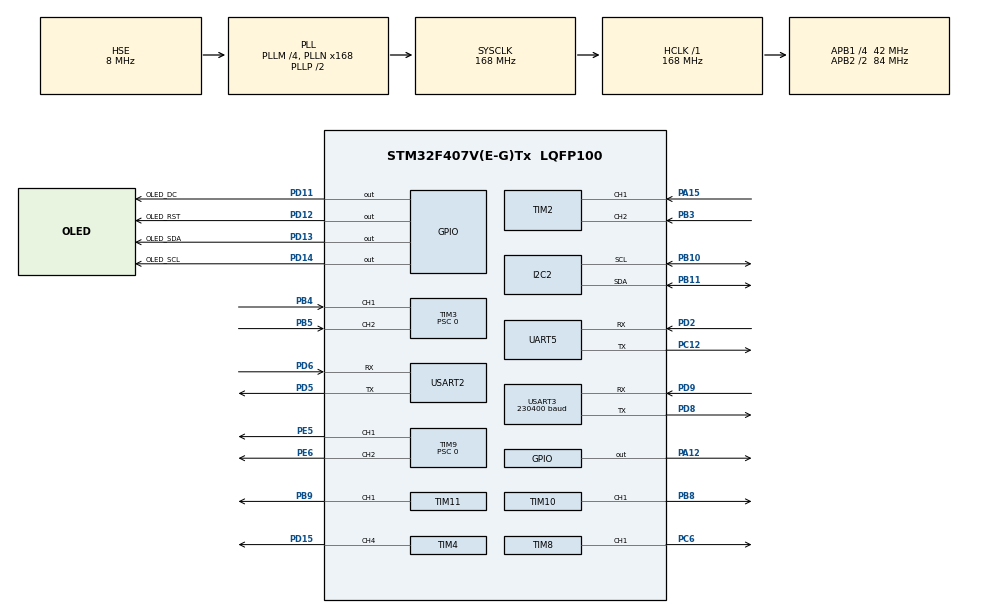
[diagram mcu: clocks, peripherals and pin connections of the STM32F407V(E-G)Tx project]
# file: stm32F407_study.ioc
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Dma.Request0=USART2_RX
Dma.Request1=USART2_TX
Dma.USART2_RX.0.Direction=DMA_PERIPH_TO_MEMORY
Dma.USART2_RX.0.FIFOMode=DMA_FIFOMODE_DISABLE
Dma.USART2_RX.0.Instance=DMA1_Stream5
Dma.USART2_RX.0.MemDataAlignment=DMA_MDATAALIGN_BYTE
Dma.USART2_RX.0.MemInc=DMA_MINC_ENABLE
Dma.USART2_RX.0.Mode=DMA_NORMAL
Dma.USART2_RX.0.PeriphDataAlignment=DMA_PDATAALIGN_BYTE
Dma.USART2_RX.0.PeriphInc=DMA_PINC_DISABLE
Dma.USART2_RX.0.Priority=DMA_PRIORITY_LOW
Dma.USART2_TX.1.Direction=DMA_MEMORY_TO_PERIPH
Dma.USART2_TX.1.FIFOMode=DMA_FIFOMODE_DISABLE
Dma.USART2_TX.1.Instance=DMA1_Stream6
Dma.USART2_TX.1.MemDataAlignment=DMA_MDATAALIGN_BYTE
Dma.USART2_TX.1.MemInc=DMA_MINC_ENABLE
Dma.USART2_TX.1.Mode=DMA_NORMAL
Dma.USART2_TX.1.PeriphDataAlignment=DMA_PDATAALIGN_BYTE
Dma.USART2_TX.1.PeriphInc=DMA_PINC_DISABLE
Dma.USART2_TX.1.Priority=DMA_PRIORITY_LOW
Mcu.Family=STM32F4
Mcu.Name=STM32F407V(E-G)Tx
Mcu.Package=LQFP100
NVIC.DMA1_Stream5_IRQn=true\:0\:0\:false\:false\:true\:false\:true\:true
NVIC.DMA1_Stream6_IRQn=true\:0\:0\:false\:false\:true\:false\:true\:true
NVIC.PriorityGroup=NVIC_PRIORITYGROUP_4
NVIC.TIM1_UP_TIM10_IRQn=true\:15\:0\:false\:false\:true\:false\:true\:true
NVIC.TIM3_IRQn=true\:0\:0\:true\:false\:true\:true\:true\:true
NVIC.TIM7_IRQn=true\:2\:0\:true\:false\:true\:true\:true\:true
NVIC.TIM8_TRG_COM_TIM14_IRQn=true\:0\:0\:false\:false\:true\:true\:true\:true
NVIC.TimeBase=TIM1_UP_TIM10_IRQn
NVIC.TimeBaseIP=TIM1
NVIC.UART5_IRQn=true\:0\:0\:false\:false\:true\:true\:true\:true
NVIC.USART2_IRQn=true\:0\:0\:false\:false\:true\:true\:true\:true
NVIC.USART3_IRQn=true\:0\:0\:false\:false\:true\:true\:true\:true
PA12.GPIO_Speed=GPIO_SPEED_FREQ_HIGH
PA12.PinState=GPIO_PIN_SET
PA12.Signal=GPIO_Output
PA13.Mode=Serial_Wire
PA13.Signal=SYS_JTMS-SWDIO
PA14.Mode=Serial_Wire
PA14.Signal=SYS_JTCK-SWCLK
PA15.GPIO_PuPd=GPIO_PULLUP
PA15.GPIO_Speed=GPIO_SPEED_FREQ_VERY_HIGH
PA15.Signal=S_TIM2_CH1_ETR
PB10.Mode=I2C
PB10.Signal=I2C2_SCL
PB11.Mode=I2C
PB11.Signal=I2C2_SDA
PB3.GPIO_PuPd=GPIO_PULLUP
PB3.GPIO_Speed=GPIO_SPEED_FREQ_VERY_HIGH
PB3.Signal=S_TIM2_CH2
PB4.GPIO_PuPd=GPIO_PULLUP
PB4.GPIO_Speed=GPIO_SPEED_FREQ_VERY_HIGH
PB4.Signal=S_TIM3_CH1
PB5.GPIO_PuPd=GPIO_PULLUP
PB5.GPIO_Speed=GPIO_SPEED_FREQ_VERY_HIGH
PB5.Signal=S_TIM3_CH2
PB8.Signal=S_TIM10_CH1
PB9.Signal=S_TIM11_CH1
PC12.Mode=Asynchronous
PC12.Signal=UART5_TX
PC6.Signal=S_TIM8_CH1
PD11.GPIO_Label=OLED_DC
PD11.Signal=GPIO_Output
PD12.GPIO_Label=OLED_RST
PD12.Signal=GPIO_Output
PD13.GPIO_Label=OLED_SDA
PD13.GPIO_ModeDefaultOutputPP=GPIO_MODE_OUTPUT_PP
PD13.GPIO_PuPd=GPIO_PULLUP
PD13.GPIO_Speed=GPIO_SPEED_FREQ_VERY_HIGH
PD13.PinState=GPIO_PIN_RESET
PD13.Signal=GPIO_Output
PD14.GPIO_Label=OLED_SCL
PD14.GPIO_PuPd=GPIO_PULLUP
PD14.GPIO_Speed=GPIO_SPEED_FREQ_VERY_HIGH
PD14.PinState=GPIO_PIN_RESET
PD14.Signal=GPIO_Output
PD15.Signal=S_TIM4_CH4
PD2.Mode=Asynchronous
PD2.Signal=UART5_RX
PD5.Mode=Asynchronous
PD5.Signal=USART2_TX
PD6.Mode=Asynchronous
PD6.Signal=USART2_RX
PD8.Mode=Asynchronous
PD8.Signal=USART3_TX
PD9.Mode=Asynchronous
PD9.Signal=USART3_RX
PE5.Signal=S_TIM9_CH1
PE6.Signal=S_TIM9_CH2
PH0-OSC_IN.Mode=HSE-External-Oscillator
PH0-OSC_IN.Signal=RCC_OSC_IN
PH1-OSC_OUT.Mode=HSE-External-Oscillator
PH1-OSC_OUT.Signal=RCC_OSC_OUT
ProjectManager.HeapSize=0x200
ProjectManager.StackSize=0x400
ProjectManager.TargetToolchain=MDK-ARM V5
RCC.48MHZClocksFreq_Value=84000000
RCC.AHBFreq_Value=168000000
RCC.APB1CLKDivider=RCC_HCLK_DIV4
RCC.APB1Freq_Value=42000000
RCC.APB1TimFreq_Value=84000000
RCC.APB2CLKDivider=RCC_HCLK_DIV2
RCC.APB2Freq_Value=84000000
RCC.APB2TimFreq_Value=168000000
RCC.CortexFreq_Value=168000000
RCC.HCLKFreq_Value=168000000
RCC.HSE_VALUE=8000000
RCC.HSI_VALUE=16000000
RCC.LSE_VALUE=32768
RCC.PLLM=4
RCC.PLLN=168
RCC.PLLSourceVirtual=RCC_PLLSOURCE_HSE
RCC.SYSCLKFreq_VALUE=168000000
RCC.SYSCLKSource=RCC_SYSCLKSOURCE_PLLCLK
RCC.VCOOutputFreq_Value=336000000
SH.S_TIM10_CH1.0=TIM10_CH1,PWM Generation1 CH1
SH.S_TIM11_CH1.0=TIM11_CH1,PWM Generation1 CH1
SH.S_TIM2_CH1_ETR.0=TIM2_CH1,Encoder_Interface
SH.S_TIM2_CH2.0=TIM2_CH2,Encoder_Interface
SH.S_TIM3_CH1.0=TIM3_CH1,Encoder_Interface
SH.S_TIM3_CH2.0=TIM3_CH2,Encoder_Interface
SH.S_TIM4_CH4.0=TIM4_CH4,PWM Generation4 CH4
SH.S_TIM8_CH1.0=TIM8_CH1,PWM Generation1 CH1
SH.S_TIM9_CH1.0=TIM9_CH1,PWM Generation1 CH1
SH.S_TIM9_CH2.0=TIM9_CH2,PWM Generation2 CH2
TIM10.Channel=TIM_CHANNEL_1
TIM10.Period=16800-1
TIM11.Channel=TIM_CHANNEL_1
TIM11.Period=16800-1
TIM2.EncoderMode=TIM_ENCODERMODE_TI12
TIM2.IC1Filter=6
TIM2.IC2Filter=6
TIM3.EncoderMode=TIM_ENCODERMODE_TI12
TIM3.IC1Filter=0
TIM3.IC2Filter=0
TIM3.Prescaler=0
TIM4.Channel-PWM\ Generation4\ CH4=TIM_CHANNEL_4
TIM4.Period=10000-1
TIM4.Prescaler=168-1
TIM6.Period=10000-1
TIM6.Prescaler=840-1
TIM7.AutoReloadPreload=TIM_AUTORELOAD_PRELOAD_ENABLE
TIM7.Period=10000-1
TIM7.Prescaler=84-1
TIM8.Channel-PWM\ Generation1\ CH1=TIM_CHANNEL_1
TIM8.Period=10000-1
TIM8.Prescaler=168-1
TIM9.Channel-PWM\ Generation1\ CH1=TIM_CHANNEL_1
TIM9.Channel-PWM\ Generation2\ CH2=TIM_CHANNEL_2
TIM9.Period=16800-1
TIM9.Prescaler=0
UART5.VirtualMode=Asynchronous
USART2.VirtualMode=VM_ASYNC
USART3.BaudRate=230400
USART3.VirtualMode=VM_ASYNC
VP_SYS_VS_tim1.Mode=TIM1
VP_TIM10_VS_ClockSourceINT.Mode=Enable_Timer
VP_TIM11_VS_ClockSourceINT.Mode=Enable_Timer
VP_TIM12_VS_ClockSourceINT.Mode=Internal
VP_TIM4_VS_ClockSourceINT.Mode=Internal
VP_TIM6_VS_ClockSourceINT.Mode=Enable_Timer
VP_TIM7_VS_ClockSourceINT.Mode=Enable_Timer
VP_TIM8_VS_ClockSourceINT.Mode=Internal
board=custom

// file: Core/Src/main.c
/* USER CODE BEGIN Header */
/**
 ******************************************************************************
 * @file           : main.c
 * @brief          : Main program body
 ******************************************************************************
 * @attention
 *
 * Copyright (c) 2024 STMicroelectronics.
 * All rights reserved.
 *
 * This software is licensed under terms that can be found in the LICENSE file
 * in the root directory of this software component.
 * If no LICENSE file comes with this software, it is provided AS-IS.
 *
 ******************************************************************************
 */
/* USER CODE END Header */
#include "main.h"
#include "dma.h"
#include "i2c.h"
#include "tim.h"
#include "usart.h"
#include "gpio.h"

/* USER CODE BEGIN Includes */
#include "math.h"
#include "contor.h"
#include "MPU6050.h"
#include "oled.h"
#include "FreeRTOS.h"
#include "task.h"
#include "uart5.h"
/* USER CODE END Includes */

/* USER CODE BEGIN PTD */
extern UART_HandleTypeDef huart2; // 确保huart2在其他地方已正确初始化

/* USER CODE END PTD */

/* USER CODE BEGIN PD */

volatile uint8_t uart5_data_buffer[DATA_SIZE];
volatile uint8_t uart5_data_index = 0;
volatile uint8_t data_ready_flag = 0;

int findMaxIndex(int dir[], int size)
{
  int maxIndex = 0;
  int maxValue = dir[0];

  for (int i = 1; i < size; i++)
  {
    if (dir[i] > maxValue)
    {
      maxValue = dir[i];
      maxIndex = i;
    }
  }

  return maxIndex;
}
void vApplicationStackOverflowHook(TaskHandle_t xTask, char *pcTaskName)
{
  // 处理栈溢出的代码
  for (;;)
    ; // 无限循环，防止继续执行
}

void vApplicationIdleHook(void)
{
  // 空闲任务钩子函数的代码
}

void vApplicationTickHook(void)
{
  // 系统时钟节拍钩子函数的代码
}

void vApplicationMallocFailedHook(void)
{
  // 动态内存分配失败钩子函数的代码
  for (;;)
    ; // 无限循环，防止继续执行
}
/* USER CODE END PD */

void SystemClock_Config(void);
/* USER CODE BEGIN PFP */
// LED闪烁任务

// 定义任务句柄
TaskHandle_t Task1Handle = NULL;
TaskHandle_t Task2Handle = NULL;
TaskHandle_t Task3Handle = NULL;
TaskHandle_t StartupTaskHandle = NULL;

/* USER CODE END PFP */

/* USER CODE BEGIN 0 */
int direction_id;
PolarCoord direction;
int dir[5] = {0};
#define var_cir 8
#define var_line 4
int distance;
// 计算两点之间的斜率
float calculateSlope(CartesianPoint p1, CartesianPoint p2)
{
  if (p1.x == 0.0f || p2.x == 0.0f)
  {
    return 0.0f; // 避免除以零
  }
  return (p2.y - p1.y) / (p2.x - p1.x);
}

// 计算斜率的方差
float calculateVariance(float slopes[], int length)
{
  float sumSlopes = 0.0f;
  float meanSlope = 0.0f;
  float variance = 0.0f;

  for (int i = 0; i < length; i++)
  {
    sumSlopes += slopes[i];
  }
  meanSlope = sumSlopes / length;

  for (int i = 0; i < length; i++)
  {
    variance += powf(slopes[i] - meanSlope, 2);
  }
  return variance / length;
}

// 根据方差和角度决定方向
void determineDirection(float variance, float angle, int dir[])
{

  if (variance > var_cir)
  {
    if (angle >= 0 && angle <= 10)
    {
      dir[2]++;
    }
    else if (angle >= 350 && angle <= 360)
    {
      dir[2]++;
    }
    else if (angle > 10 && angle <= 30)
    {
      dir[3]++;
    }
    else if (angle > 30 && angle <= 100)
    {
      dir[4]++;
    }
    else if (angle >= 330 && angle < 350)
    {
      dir[1]++;
    }
    else if (angle >= 170 && angle < 330)
    {
      dir[0]++;
    }
  }

   else if (variance < var_line)
  {
    if (angle >= 0 && angle <= 10)
    {
      dir[2]--;
    }
    else if (angle >= 350 && angle <= 360)
    {
      dir[2]--;
    }
    else if (angle > 10 && angle <= 30)
    {
      dir[3]--;
    }
    else if (angle > 30 && angle <= 100)
    {
      dir[4]--;
    }
    else if (angle >= 330 && angle < 350)
    {
      dir[1]--;
    }
    else if (angle >= 170 && angle < 330)
    {
      dir[0]--;
    }
  }
}

void calcul_k(CartesianPoint cartesianData[], int n, int dir[])
{
  if (n < 4)
  {
    return; // 数组长度小于 4 时无法计算斜率方差
  }

  float slopes[3];           // 存储斜率
  float varianceHistory[10]; // 存储最近 10 次的方差
  int varianceIndex = 0;     // 当前方差在数组中的索引

  for (int i = 0; i < n - 2; i++)
  {
    // 检查坐标是否为 0
    if (cartesianData[i].x == 0.0f || cartesianData[i + 1].x == 0.0f || cartesianData[i].y == 0.0f || cartesianData[i + 1].y == 0.0f ||
        cartesianData[i + 2].x == 0.0f || cartesianData[i + 2].y == 0.0f || cartesianData[i + 3].x == 0.0f || cartesianData[i + 3].y == 0.0f)
    {
      continue; // 存在坐标为 0 的情况，跳过
    }

    // 计算斜率
    for (int k = 0; k <= 2; k++)
    {
      slopes[k] = calculateSlope(cartesianData[i + k], cartesianData[i + k + 1]);
    }

    // 计算方差
    float variance = calculateVariance(slopes, 3);

    // 将当前方差添加到历史记录中
    varianceHistory[varianceIndex % 10] = variance;
    varianceIndex++;

    // 计算平滑方差
    float smoothVariance = 0.0f;
    int count = (varianceIndex < 10) ? varianceIndex : 10;
    for (int j = 0; j < count; j++)
    {
      smoothVariance += varianceHistory[j];
    }
    smoothVariance /= count;

    // 打印调试信息
    print_float(smoothVariance);
    print_float(Dataprocess[i].angle);
    print_int32_t(Dataprocess[i].distance);
    println("");
    // 决定方向
    if (0 < Dataprocess[i].angle || Dataprocess[i].angle > 5)
      distance = Dataprocess[i].distance;
    determineDirection(smoothVariance, Dataprocess[i].angle, dir);
  }
}

// 任务1函数（优先级高）
void Task1(void *pvParameters)
{
  while (1)
  {
    PolarCoord polarCoord;
    Circle cir;

    if (data_ready_flag)
    {
      vTaskSuspend(Task3Handle);
      // 数据处理逻辑
      processData();
      // 转换为直角坐标
      CartesianPoint cartesianData[92];
      polarToCartesian(Dataprocess, cartesianData, 92);
      calcul_k(cartesianData, 92, dir);
      direction_id = findMaxIndex(dir, 5);
      for (int i = 0; i < 5; i++)
      {
        dir[i] = 0;
      }
      // 数据处理完毕，重置标志位
       vTaskResume(Task3Handle);
      vTaskDelay(pdMS_TO_TICKS(1000));
        Drive_Motor(0,0);
      data_ready_flag = 0;
      // 重新开启UART接收中断

      HAL_UART_Receive_IT(&huart5, Uart5_Receive_buf, sizeof(Uart5_Receive_buf));
    }
  }
}

// 任务2函数（优先级低）
void Task2(void *pvParameters)
{
  while (1)
  {
    // print_int(direction_id);
    OLED_ShowNumber(20, 20, direction_id);
    OLED_Refresh_Gram();
    if (distance < 300 && direction_id != 2)
    {
      Drive_Motor(-0.2, 0);
      // vTaskDelay(pdMS_TO_TICKS(1000));
    }
    else if (distance < 150 && direction_id == 2)
    {
      Drive_Motor(0, 0);
      // vTaskDelay(pdMS_TO_TICKS(2000));
    }
    else
    {
      switch (direction_id)
      {
      case 0:
        Drive_Motor(0.3, -60);
        // vTaskDelay(pdMS_TO_TICKS(1000));
      case 1:
        Drive_Motor(0.3, -40);
        // vTaskDelay(pdMS_TO_TICKS(1000));
        break;
      case 2:
        Drive_Motor(0.3, 0);
        // vTaskDelay(pdMS_TO_TICKS(1000));
        break;
      case 3:
        Drive_Motor(0.3, 40);
        // vTaskDelay(pdMS_TO_TICKS(1000));
        break;
      case 4:
        Drive_Motor(0.3, 60);
        // vTaskDelay(pdMS_TO_TICKS(1000));
        break;
      default:

        break;
      }
    }

    vTaskDelay(pdMS_TO_TICKS(10));
  }
  // Drive_Motor(0,0);
}

// 任务3函数（优先级低，与任务2相同）
void Task3(void *pvParameters)
{
  while (1)
  {
    Set_Pwm(Incremental_PI_A(MOTOR_A.Encoder, MOTOR_A.Target), Incremental_PI_B(MOTOR_B.Encoder, MOTOR_B.Target), Servo);
    vTaskDelay(pdMS_TO_TICKS(1));
  }
}

// 启动任务函数
void StartupTask(void *pvParameters)
{
  // 延时一段时间
  vTaskDelay(pdMS_TO_TICKS(2000));

  // 创建任务1，优先级为2，栈大小为1024字（可以根据需要调整）
  xTaskCreate(Task1, "Task 1", 1024, NULL, 2, &Task1Handle);

  // 创建任务2，优先级为1，栈大小为configMINIMAL_STACK_SIZE
  xTaskCreate(Task2, "Task 2", 256, NULL, 1, &Task2Handle);

  // 创建任务3，优先级为1，栈大小为configMINIMAL_STACK_SIZE
  xTaskCreate(Task3, "Task 3", 128, NULL, 1, &Task3Handle);

  // 删除启动任务
  vTaskDelete(NULL);
}
/* USER CODE END 0 */

int main(void)
{

  /* MCU Configuration--------------------------------------------------------*/

  /* Reset of all peripherals, Initializes the Flash interface and the Systick. */
  HAL_Init();

  /* Configure the system clock */
  SystemClock_Config();

  /* Initialize all configured peripherals */
  MX_GPIO_Init();
  MX_DMA_Init();
  MX_TIM2_Init();
  MX_TIM3_Init();
  MX_USART2_UART_Init();
  MX_TIM4_Init();
  MX_TIM9_Init();
  MX_TIM7_Init();
  MX_TIM8_Init();
  MX_TIM10_Init();
  MX_TIM11_Init();
  MX_TIM12_Init();
  MX_I2C2_Init();
  MX_TIM6_Init();
  MX_USART3_UART_Init();
  MX_UART5_Init();
  /* USER CODE BEGIN 2 */

  HAL_TIM_PWM_Start(&htim10, TIM_CHANNEL_1);      // motor_A
  HAL_TIM_PWM_Start(&htim11, TIM_CHANNEL_1);      // motor_A(pwm)
  HAL_TIM_PWM_Start(&htim9, TIM_CHANNEL_1);       // motor_B(pwm)
  HAL_TIM_PWM_Start(&htim9, TIM_CHANNEL_2);       // motor_B(pwm)
  HAL_TIM_PWM_Start(&htim8, TIM_CHANNEL_1);       // servo pwm
  HAL_TIM_Encoder_Start(&htim3, TIM_CHANNEL_ALL); // encoder_B
  HAL_TIM_Base_Start_IT(&htim3);
  HAL_TIM_Encoder_Start(&htim2, TIM_CHANNEL_ALL); // encoder_A
  HAL_TIM_Base_Start_IT(&htim2);
  HAL_TIM_Base_Start_IT(&htim7); // T=10ms

  Robot_Init();
  OLED_Init();
  OLED_Clear();
  OLED_Display_On();

  MPU6050_DMP_Init();
  Set_Pwm(0, 0, 1500);
  HAL_Delay(100);

  // 创建启动任务
  xTaskCreate(StartupTask, "Startup Task", 128, NULL, 3, &StartupTaskHandle);

  // 启动调度器
  vTaskStartScheduler();

  // 如果调度器启动失败，则执行以下代码
  /* USER CODE END 2 */

  /* Infinite loop */
  while (1)
  {
    /* USER CODE BEGIN 3 */
    // 检查标志位
    // PolarCoord polarCoord;
    // Circle cir;

    // if (data_ready_flag)
    // {
    //   // 数据处理逻辑
    //   processData();
    //   print("b");
    //   // 转换为直角坐标
    //   CartesianPoint cartesianData[80];
    //   polarToCartesian(Dataprocess, cartesianData, 80);
    //    calcul_k(cartesianData, 80,dir);
    //   direction_id = findMaxIndex(dir, 5);
    //   //print_int(direction_id);
    //   // 数据处理完毕，重置标志位
    //   data_ready_flag = 0;
    //   // 重新开启UART接收中断
    //   HAL_UART_Receive_IT(&huart5, Uart5_Receive_buf, sizeof(Uart5_Receive_buf));
    // }
  }
  /* USER CODE END 3 */
}

void SystemClock_Config(void)
{
  RCC_OscInitTypeDef RCC_OscInitStruct = {0};
  RCC_ClkInitTypeDef RCC_ClkInitStruct = {0};

  /** Configure the main internal regulator output voltage
   */
  __HAL_RCC_PWR_CLK_ENABLE();
  __HAL_PWR_VOLTAGESCALING_CONFIG(PWR_REGULATOR_VOLTAGE_SCALE1);

  /** Initializes the RCC Oscillators according to the specified parameters
   * in the RCC_OscInitTypeDef structure.
   */
  RCC_OscInitStruct.OscillatorType = RCC_OSCILLATORTYPE_HSE;
  RCC_OscInitStruct.HSEState = RCC_HSE_ON;
  RCC_OscInitStruct.PLL.PLLState = RCC_PLL_ON;
  RCC_OscInitStruct.PLL.PLLSource = RCC_PLLSOURCE_HSE;
  RCC_OscInitStruct.PLL.PLLM = 4;
  RCC_OscInitStruct.PLL.PLLN = 168;
  RCC_OscInitStruct.PLL.PLLP = RCC_PLLP_DIV2;
  RCC_OscInitStruct.PLL.PLLQ = 4;
  if (HAL_RCC_OscConfig(&RCC_OscInitStruct) != HAL_OK)
  {
    Error_Handler();
  }

  /** Initializes the CPU, AHB and APB buses clocks
   */
  RCC_ClkInitStruct.ClockType = RCC_CLOCKTYPE_HCLK | RCC_CLOCKTYPE_SYSCLK | RCC_CLOCKTYPE_PCLK1 | RCC_CLOCKTYPE_PCLK2;
  RCC_ClkInitStruct.SYSCLKSource = RCC_SYSCLKSOURCE_PLLCLK;
  RCC_ClkInitStruct.AHBCLKDivider = RCC_SYSCLK_DIV1;
  RCC_ClkInitStruct.APB1CLKDivider = RCC_HCLK_DIV4;
  RCC_ClkInitStruct.APB2CLKDivider = RCC_HCLK_DIV2;

  if (HAL_RCC_ClockConfig(&RCC_ClkInitStruct, FLASH_LATENCY_5) != HAL_OK)
  {
    Error_Handler();
  }
}

void HAL_TIM_PeriodElapsedCallback(TIM_HandleTypeDef *htim)
{
  /* USER CODE BEGIN Callback 0 */

  if (htim == (&htim7))
  {
    int encoderPulse[2] = {0};
    encoderPulse[0] = (short)TIM2->CNT;
    TIM2->CNT = 0; // 配合小车轮子运动方向，进行取反操作
    encoderPulse[1] = (short)TIM3->CNT;
    TIM3->CNT = 0;
    MOTOR_A.Encoder = encoderPulse[0] * CONTROL_FREQUENCY * Wheel_perimeter / Encoder_precision; // 获得当前的速度值
    MOTOR_B.Encoder = -encoderPulse[1] * CONTROL_FREQUENCY * Wheel_perimeter / Encoder_precision;
  }

  /* USER CODE END Callback 0 */
  if (htim->Instance == TIM1)
  {
    HAL_IncTick();
  }
}

void Error_Handler(void)
{
  __disable_irq();
  while (1)
  {
  }
}
